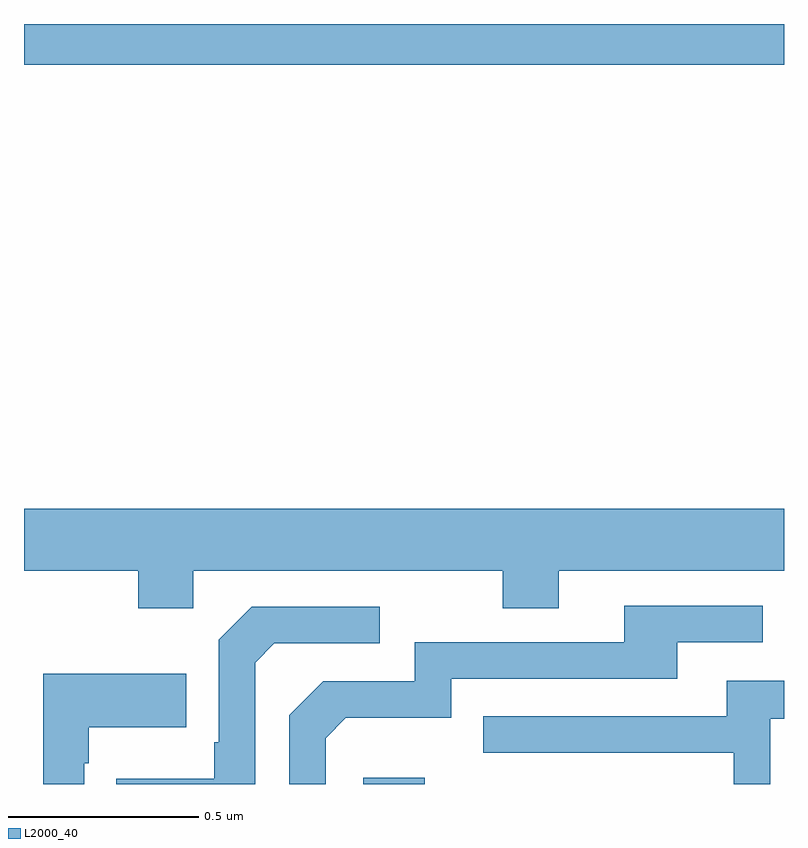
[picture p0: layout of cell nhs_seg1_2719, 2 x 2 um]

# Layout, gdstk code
import gdstk
lib = gdstk.Library(unit=1e-6, precision=1e-09)
def R(c, l, rs):  # rectangles x0, y0, x1, y1
    for r in rs: c.add(gdstk.rectangle(r[:2], r[2:], *l))
def P(c, l, *ps):  # polygons
    for p in ps: c.add(gdstk.Polygon(p, *l))
L2000_40 = (2000, 40)

nhs_seg1_2719 = lib.new_cell('nhs_seg1_2719')
R(nhs_seg1_2719, L2000_40, [(145.893,523.199,146.054,523.216), (145,525.092,147,525.199)])
P(nhs_seg1_2719, L2000_40, [(145.446,523.76),(146.26,523.76),(146.26,523.661),(146.407,523.661),(146.407,523.76),(147,523.76),(147,523.924),(145,523.924),(145,523.76),(145.3,523.76),(145.3,523.661),(145.446,523.661)],
  [(145.794,523.32),(145.847,523.373),(146.124,523.373),(146.124,523.476),(146.719,523.476),(146.719,523.572),(146.944,523.572),(146.944,523.668),(146.579,523.668),(146.579,523.572),(146.028,523.572),(146.028,523.47),(145.788,523.47),(145.698,523.38),(145.698,523.199),(145.794,523.199)],
  [(145.608,523.518),(145.659,523.569),(145.936,523.569),(145.936,523.665),(145.599,523.665),(145.512,523.578),(145.512,523.309),(145.5,523.309),(145.5,523.213),(145.243,523.213),(145.243,523.199),(145.608,523.199)],
  [(145.158,523.253),(145.171,523.253),(145.171,523.349),(145.427,523.349),(145.427,523.489),(145.05,523.489),(145.05,523.199),(145.158,523.199)],
  [(146.964,523.371),(147,523.371),(147,523.471),(146.849,523.471),(146.849,523.377),(146.209,523.377),(146.209,523.281),(146.868,523.281),(146.868,523.199),(146.964,523.199)])

lib.write_gds('nhs_seg1_2719.gds')
